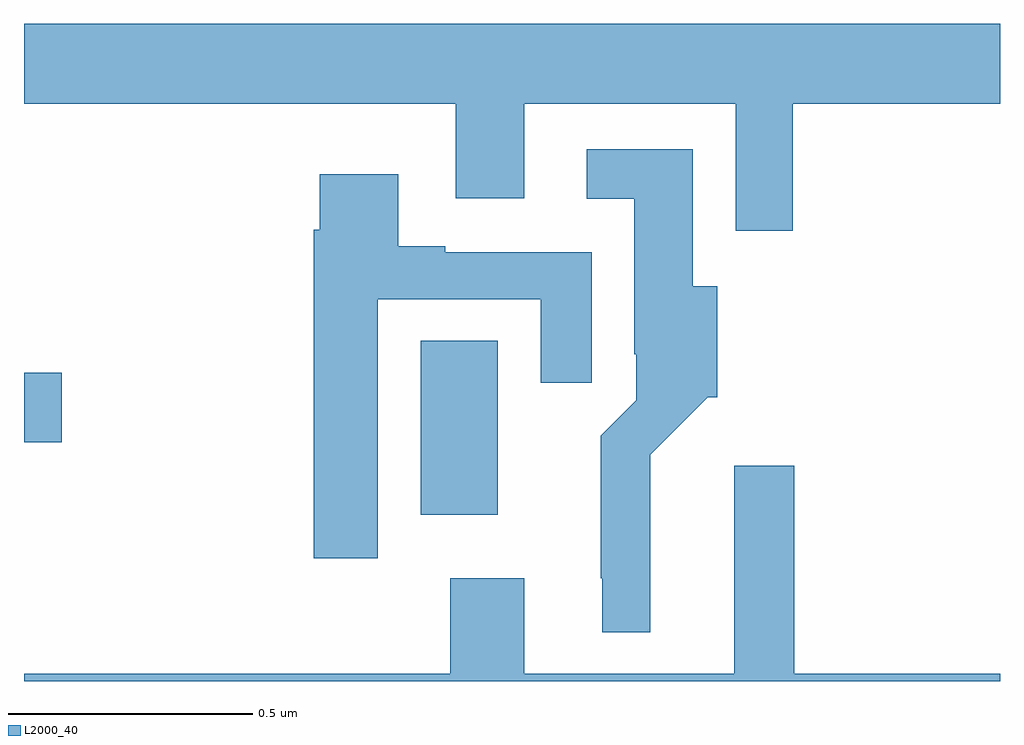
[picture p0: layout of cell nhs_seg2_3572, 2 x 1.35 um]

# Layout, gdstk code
import gdstk
lib = gdstk.Library(unit=1e-6, precision=1e-09)
def R(c, l, rs):  # rectangles x0, y0, x1, y1
    for r in rs: c.add(gdstk.rectangle(r[:2], r[2:], *l))
def P(c, l, *ps):  # polygons
    for p in ps: c.add(gdstk.Polygon(p, *l))
L2000_40 = (2000, 40)

nhs_seg2_3572 = lib.new_cell('nhs_seg2_3572')
R(nhs_seg2_3572, L2000_40, [(155.813,632.142,155.971,632.498), (155,632.29,155.077,632.432)])
P(nhs_seg2_3572, L2000_40, [(156.575,632.984),(157,632.984),(157,633.148),(155,633.148),(155,632.984),(155.885,632.984),(155.885,632.79),(156.025,632.79),(156.025,632.984),(156.459,632.984),(156.459,632.724),(156.575,632.724)],
  [(156.283,632.264),(156.401,632.382),(156.421,632.382),(156.421,632.61),(156.37,632.61),(156.37,632.89),(156.153,632.89),(156.153,632.789),(156.251,632.789),(156.251,632.47),(156.255,632.47),(156.255,632.376),(156.182,632.303),(156.182,632.011),(156.185,632.011),(156.185,631.901),(156.283,631.901)],
  [(155.725,632.583),(156.059,632.583),(156.059,632.412),(156.163,632.412),(156.163,632.679),(155.863,632.679),(155.863,632.692),(155.767,632.692),(155.767,632.839),(155.606,632.839),(155.606,632.726),(155.594,632.726),(155.594,632.052),(155.725,632.052)],
  [(157,631.816),(156.578,631.816),(156.578,632.242),(156.455,632.242),(156.455,631.816),(156.025,631.816),(156.025,632.011),(155.873,632.011),(155.873,631.816),(155,631.816),(155,631.8),(157,631.8)])

lib.write_gds('nhs_seg2_3572.gds')
